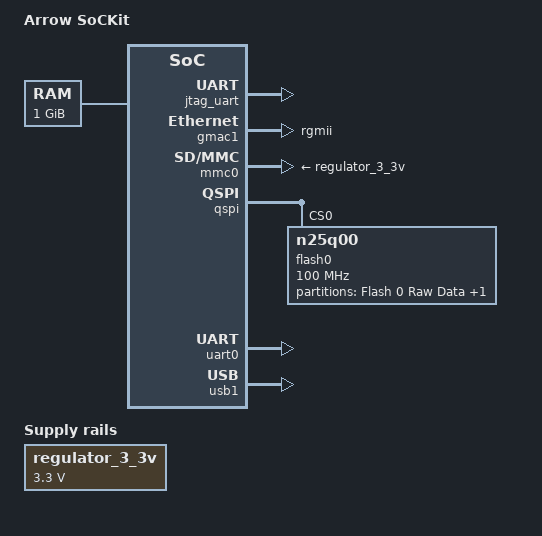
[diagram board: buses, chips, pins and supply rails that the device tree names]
/*
 *  Copyright (C) 2017 Arrow Electronics, Inc.
 *
 * This program is free software; you can redistribute it and/or modify
 * it under the terms of the GNU General Public License as published by
 * the Free Software Foundation; either version 2 of the License, or
 * (at your option) any later version.
 *
 * This program is distributed in the hope that it will be useful,
 * but WITHOUT ANY WARRANTY; without even the implied warranty of
 * MERCHANTABILITY or FITNESS FOR A PARTICULAR PURPOSE.  See the
 * GNU General Public License for more details.
 *
 * You should have received a copy of the GNU General Public License
 * along with this program.  If not, see <http://www.gnu.org/licenses/>.
 */


#include "socfpga_cyclone5.dtsi"

/ {
	model = "Arrow SoCKit";
	compatible = "altr,socfpga-cyclone5", "altr,socfpga";

	chosen {
		bootargs = "earlyprintk";
		stdout-path = "serial0:115200n8";
	};

	memory {
		name = "memory";
		device_type = "memory";
		reg = <0x0 0x40000000>; /* 1GB */
	};

	aliases {
		ethernet0 = &gmac1;
	};

	regulator_3_3v: vcc3p3-regulator {
		compatible = "regulator-fixed";
		regulator-name = "VCC3P3";
		regulator-min-microvolt = <3300000>;
		regulator-max-microvolt = <3300000>;
	};
	
	soc {
		clkmgr@ffd04000 {
			clocks {
				#clock-cells = <0>;
							   
				clk_0: clk_0 {
					#clock-cells = <0>;
					compatible = "fixed-clock";	
					clock-frequency = <50000000>;
					clock-output-names = "clk_0-clk";
				};
			};
		};
		
		base_fpga_region: base-fpga-region {
			compatible = "fpga-region";
			fpga-mgr = <&fpga_mgr>;
			fpga-bridges = <&fpga_bridge0>, <&fpga_bridge1>,
					<&fpga_bridge2>, <&fpga_bridge3>;
	
			#address-cells = <0x1>;
			#size-cells = <0x1>;
			ranges = <0 0xff200000 0x100000>,
				 <1 0xc0000000 0x20000000>;
			
			alt_vip_vfr_0: vip@0x00000100 {
			compatible = "altr,vip-frame-reader-1.0";
			reg = <0x00000100 0x00000080>;
			max-width = <1920>;
			max-height = <1080>;
			bits-per-color = <8>;
			mem-word-width = <128>;
			};
			
			jtag_uart: serial@0x100020000 {
				compatible = "altr,juart-15.1", "altr,juart-1.0";
				reg = <0x00020000 0x00000008>;
				//interrupt-parent = <&hps_0_arm_gic_0>;
				interrupts = <0 42 4>;
				clocks = <&clk_0>;
			}; //end serial@0x100020000 (jtag_uart)

			sysid_qsys: sysid@0x100010000 {
				compatible = "altr,sysid-15.1", "altr,sysid-1.0";
				reg = <0x00010000 0x00000008>;
				clocks = <&clk_0>;
				id = <2899645186>;	/* embeddedsw.dts.params.id type NUMBER */
				timestamp = <1461878490>;	/* embeddedsw.dts.params.timestamp type NUMBER */
			}; //end sysid@0x100010000 (sysid_qsys)

			button_pio: gpio@0x1000100c0 {
				compatible = "altr,pio-15.1", "altr,pio-1.0";
				reg = <0x000100c0 0x00000010>;
				//interrupt-parent = <&hps_0_arm_gic_0>;
				interrupts = <0 41 1>;
				clocks = <&clk_0>;
				altr,gpio-bank-width = <2>;	/* embeddedsw.dts.params.altr,gpio-bank-width type NUMBER */
				altr,interrupt-type = <2>;	/* embeddedsw.dts.params.altr,interrupt-type type NUMBER */
				altr,interrupt_type = <2>;	/* embeddedsw.dts.params.altr,interrupt_type type NUMBER */
				edge_type = <1>;	/* embeddedsw.dts.params.edge_type type NUMBER */
				level_trigger = <0>;	/* embeddedsw.dts.params.level_trigger type NUMBER */
				resetvalue = <0>;	/* embeddedsw.dts.params.resetvalue type NUMBER */
				#gpio-cells = <2>;
				gpio-controller;
			}; //end gpio@0x1000100c0 (button_pio)

			dipsw_pio: gpio@0x100010080 {
				compatible = "altr,pio-15.1", "altr,pio-1.0";
				reg = <0x00010080 0x00000010>;
				//interrupt-parent = <&hps_0_arm_gic_0>;
				interrupts = <0 40 1>;
				clocks = <&clk_0>;
				altr,gpio-bank-width = <4>;	/* embeddedsw.dts.params.altr,gpio-bank-width type NUMBER */
				altr,interrupt-type = <3>;	/* embeddedsw.dts.params.altr,interrupt-type type NUMBER */
				altr,interrupt_type = <3>;	/* embeddedsw.dts.params.altr,interrupt_type type NUMBER */
				edge_type = <2>;	/* embeddedsw.dts.params.edge_type type NUMBER */
				level_trigger = <0>;	/* embeddedsw.dts.params.level_trigger type NUMBER */
				resetvalue = <0>;	/* embeddedsw.dts.params.resetvalue type NUMBER */
				#gpio-cells = <2>;
				gpio-controller;
			}; //end gpio@0x100010080 (dipsw_pio)

			led_pio: gpio@0x100010040 {
				compatible = "altr,pio-15.1", "altr,pio-1.0";
				reg = <0x00010040 0x00000010>;
				clocks = <&clk_0>;
				altr,gpio-bank-width = <4>;	/* embeddedsw.dts.params.altr,gpio-bank-width type NUMBER */
				resetvalue = <0>;	/* embeddedsw.dts.params.resetvalue type NUMBER */
				#gpio-cells = <2>;
				gpio-controller;
			}; //end gpio@0x100010040 (led_pio)			
		};

	};
		
};

&gmac1 {
	status = "okay";
	phy-mode = "rgmii";

	rxd0-skew-ps = <0>;
	rxd1-skew-ps = <0>;
	rxd2-skew-ps = <0>;
	rxd3-skew-ps = <0>;
	txen-skew-ps = <0>;
	txc-skew-ps = <2600>;
	rxdv-skew-ps = <0>;
	rxc-skew-ps = <2000>;
};

&mmc0 {
	vmmc-supply = <&regulator_3_3v>;
	vqmmc-supply = <&regulator_3_3v>;
};

&qspi {
	flash0: n25q00@0 {
		#address-cells = <1>;
		#size-cells = <1>;
		compatible = "n25q00";
		reg = <0>;      /* chip select */
		spi-max-frequency = <100000000>;
		m25p,fast-read;
		page-size = <256>;
		block-size = <16>; /* 2^16, 64KB */
		read-delay = <4>;  /* delay value in read data capture register */
		tshsl-ns = <50>;
		tsd2d-ns = <50>;
		tchsh-ns = <4>;
		tslch-ns = <4>;

		partition@qspi-boot {
			/* 8MB for raw data. */
			label = "Flash 0 Raw Data";
			reg = <0x0 0x800000>;
		};

		partition@qspi-rootfs {
			/* 120MB for jffs2 data. */
			label = "Flash 0 jffs2 Filesystem";
			reg = <0x800000 0x7800000>;
		};
	};
};

&uart0 {
	status = "okay";
};

&usb1 {
	status = "okay";
};

